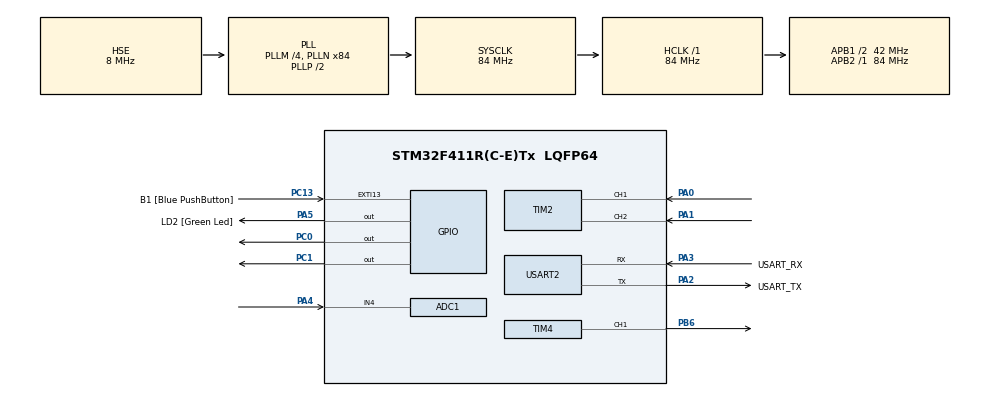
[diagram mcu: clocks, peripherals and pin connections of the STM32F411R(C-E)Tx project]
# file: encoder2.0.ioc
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ADC1.Channel-3\#ChannelRegularConversion=ADC_CHANNEL_4
ADC1.NbrOfConversionFlag=1
ADC1.Rank-3\#ChannelRegularConversion=1
ADC1.SamplingTime-3\#ChannelRegularConversion=ADC_SAMPLETIME_144CYCLES
ADC1.master=1
Mcu.Family=STM32F4
Mcu.Name=STM32F411R(C-E)Tx
Mcu.Package=LQFP64
NVIC.PriorityGroup=NVIC_PRIORITYGROUP_0
NVIC.TIM3_IRQn=true\:0\:0\:false\:true\:true\:1\:true\:true\:true
PA0-WKUP.Signal=S_TIM2_CH1_ETR
PA1.Signal=S_TIM2_CH2
PA13.GPIO_Label=TMS
PA13.Mode=Serial_Wire
PA13.Signal=SYS_JTMS-SWDIO
PA14.GPIO_Label=TCK
PA14.Mode=Serial_Wire
PA14.Signal=SYS_JTCK-SWCLK
PA2.GPIO_Label=USART_TX
PA2.Mode=Asynchronous
PA2.Signal=USART2_TX
PA3.GPIO_Label=USART_RX
PA3.Mode=Asynchronous
PA3.Signal=USART2_RX
PA4.Signal=ADCx_IN4
PA5.GPIO_Label=LD2 [Green Led]
PA5.Signal=GPIO_Output
PB3.GPIO_Label=SWO
PB3.Signal=SYS_JTDO-SWO
PB6.Signal=S_TIM4_CH1
PC0.Signal=GPIO_Output
PC1.Signal=GPIO_Output
PC13-ANTI_TAMP.GPIO_Label=B1 [Blue PushButton]
PC13-ANTI_TAMP.GPIO_ModeDefaultEXTI=GPIO_MODE_IT_FALLING
PC13-ANTI_TAMP.Signal=GPXTI13
PC14-OSC32_IN.Mode=LSE-External-Oscillator
PC14-OSC32_IN.Signal=RCC_OSC32_IN
PC15-OSC32_OUT.Mode=LSE-External-Oscillator
PC15-OSC32_OUT.Signal=RCC_OSC32_OUT
PH0\ -\ OSC_IN.Mode=HSE-External-Oscillator
PH0\ -\ OSC_IN.Signal=RCC_OSC_IN
PH1\ -\ OSC_OUT.Mode=HSE-External-Oscillator
PH1\ -\ OSC_OUT.Signal=RCC_OSC_OUT
ProjectManager.HeapSize=0x200
ProjectManager.StackSize=0x400
ProjectManager.TargetToolchain=STM32CubeIDE
RCC.48MHZClocksFreq_Value=42000000
RCC.AHBFreq_Value=84000000
RCC.APB1CLKDivider=RCC_HCLK_DIV2
RCC.APB1Freq_Value=42000000
RCC.APB1TimFreq_Value=84000000
RCC.APB2Freq_Value=84000000
RCC.APB2TimFreq_Value=84000000
RCC.CortexFreq_Value=84000000
RCC.FLatency-AdvancedSettings=FLASH_LATENCY_2
RCC.HCLKFreq_Value=84000000
RCC.HSE_VALUE=8000000
RCC.HSI_VALUE=16000000
RCC.PLLM=4
RCC.PLLN=84
RCC.PLLSourceVirtual=RCC_PLLSOURCE_HSE
RCC.SYSCLKFreq_VALUE=84000000
RCC.SYSCLKSource=RCC_SYSCLKSOURCE_PLLCLK
RCC.VCOOutputFreq_Value=168000000
SH.ADCx_IN4.0=ADC1_IN4,IN4
SH.S_TIM2_CH1_ETR.0=TIM2_CH1,Encoder_Interface
SH.S_TIM2_CH2.0=TIM2_CH2,Encoder_Interface
SH.S_TIM4_CH1.0=TIM4_CH1,PWM Generation1 CH1
TIM2.EncoderMode=TIM_ENCODERMODE_TI12
TIM3.AutoReloadPreload=TIM_AUTORELOAD_PRELOAD_ENABLE
TIM3.Period=150-1
TIM3.Prescaler=8400-1
TIM4.AutoReloadPreload=TIM_AUTORELOAD_PRELOAD_ENABLE
TIM4.Channel-PWM\ Generation1\ CH1=TIM_CHANNEL_1
TIM4.Period=1000-1
TIM4.Prescaler=5.6-1
USART2.VirtualMode=VM_ASYNC
VP_TIM3_VS_ClockSourceINT.Mode=Internal
VP_TIM4_VS_ClockSourceINT.Mode=Internal
board=NUCLEO-F411RE

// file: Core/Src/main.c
/* USER CODE BEGIN Header */
/**
  ******************************************************************************
  * @file           : main.c
  * @brief          : Main program body
  ******************************************************************************
  * @attention
  *
  * Copyright (c) 2026 STMicroelectronics.
  * All rights reserved.
  *
  * This software is licensed under terms that can be found in the LICENSE file
  * in the root directory of this software component.
  * If no LICENSE file comes with this software, it is provided AS-IS.
  *
  ******************************************************************************
  */
/* USER CODE END Header */
#include "main.h"
#include "adc.h"
#include "tim.h"
#include "usart.h"
#include "gpio.h"

/* USER CODE BEGIN Includes */
#include <stdio.h>
/* USER CODE END Includes */

/* USER CODE BEGIN PV */
/* Variables para el control del timer de muestreo

el tipo volatile se utiliza para indicar al compilador que el valor de la variable
puede cambiar en cualquier momento sin que el código que la utiliza lo espere,
lo que es común en aplicaciones de hardware donde las variables pueden ser modificadas
por interrupciones o por otros procesos concurrentes.
*/
#define dt 0.015 //15ms de muestreo
volatile int flag = 0;
volatile float t = 0;
volatile float pos=0.0;
volatile float vel=0.0;
int cont1;
/* USER CODE END PV */

void SystemClock_Config(void);
static void MX_NVIC_Init(void);
/* USER CODE BEGIN PFP */
int uart2_write(int ch);
int __io_putchar(int ch);
uint32_t Leer_Encoder(void);
/* USER CODE END PFP */

int main(void)
{

  /* MCU Configuration--------------------------------------------------------*/

  /* Reset of all peripherals, Initializes the Flash interface and the Systick. */
  HAL_Init();

  /* Configure the system clock */
  SystemClock_Config();

  /* Initialize all configured peripherals */
  MX_GPIO_Init();
  MX_TIM4_Init();
  MX_TIM2_Init();
  MX_USART2_UART_Init();
  MX_ADC1_Init();
  MX_TIM3_Init();

  /* Initialize interrupts */
  MX_NVIC_Init();
  /* USER CODE BEGIN 2 */
  HAL_TIM_PWM_Start(&htim4, TIM_CHANNEL_1);
  HAL_TIM_Base_Start_IT(&htim3);
  HAL_TIM_Encoder_Start(&htim2, TIM_CHANNEL_ALL); //inicializacion del encoder mode en TIMER

  printf("tiempo,posicion,velocidad\n\r");
  /* USER CODE END 2 */

  /* Infinite loop */
  /* USER CODE BEGIN WHILE */

  /**
   * Este codigo implenta el modo 4x para lectura de encoder por hardware
   * tiene un timer configurado en modo de encoder para hacer la lectura por hardware
   */

  /**
   * Este codigo tiene configurado tambien un PWM y un adc, sin embargo, no se utilizan en este ejemplo,
   * pero pueden ser utilizados para controlar un motor y leer su velocidad respectivamente
   */

  while (1)
  {
    /* USER CODE END WHILE */

	 // Imprimir cada 15ms
	 if(flag == 1){
		 int cont = Leer_Encoder();
		 t += dt;//sampling timer
		 pos = (((float)cont)/(4.0*495.0))*360.0; //4(modo 4x) 495(PPR depende del motor)
		 vel=(((float)cont-(float)cont1)*60.0)/(4.0*495.0*0.015);
		 printf("%.2f, %.2f, %.2f\n\r", t, vel, pos);
		 cont1=cont;
		 flag = 0;
	 }
  }
}

void SystemClock_Config(void)
{
  RCC_OscInitTypeDef RCC_OscInitStruct = {0};
  RCC_ClkInitTypeDef RCC_ClkInitStruct = {0};

  /** Configure the main internal regulator output voltage
  */
  __HAL_RCC_PWR_CLK_ENABLE();
  __HAL_PWR_VOLTAGESCALING_CONFIG(PWR_REGULATOR_VOLTAGE_SCALE1);

  /** Initializes the RCC Oscillators according to the specified parameters
  * in the RCC_OscInitTypeDef structure.
  */
  RCC_OscInitStruct.OscillatorType = RCC_OSCILLATORTYPE_HSE;
  RCC_OscInitStruct.HSEState = RCC_HSE_ON;
  RCC_OscInitStruct.PLL.PLLState = RCC_PLL_ON;
  RCC_OscInitStruct.PLL.PLLSource = RCC_PLLSOURCE_HSE;
  RCC_OscInitStruct.PLL.PLLM = 4;
  RCC_OscInitStruct.PLL.PLLN = 84;
  RCC_OscInitStruct.PLL.PLLP = RCC_PLLP_DIV2;
  RCC_OscInitStruct.PLL.PLLQ = 4;
  if (HAL_RCC_OscConfig(&RCC_OscInitStruct) != HAL_OK)
  {
    Error_Handler();
  }

  /** Initializes the CPU, AHB and APB buses clocks
  */
  RCC_ClkInitStruct.ClockType = RCC_CLOCKTYPE_HCLK|RCC_CLOCKTYPE_SYSCLK
                              |RCC_CLOCKTYPE_PCLK1|RCC_CLOCKTYPE_PCLK2;
  RCC_ClkInitStruct.SYSCLKSource = RCC_SYSCLKSOURCE_PLLCLK;
  RCC_ClkInitStruct.AHBCLKDivider = RCC_SYSCLK_DIV1;
  RCC_ClkInitStruct.APB1CLKDivider = RCC_HCLK_DIV2;
  RCC_ClkInitStruct.APB2CLKDivider = RCC_HCLK_DIV1;

  if (HAL_RCC_ClockConfig(&RCC_ClkInitStruct, FLASH_LATENCY_2) != HAL_OK)
  {
    Error_Handler();
  }
}

/**
  * @brief NVIC Configuration.
  * @retval None
  */
static void MX_NVIC_Init(void)
{
  /* TIM3_IRQn interrupt configuration */
  HAL_NVIC_SetPriority(TIM3_IRQn, 0, 0);
  HAL_NVIC_EnableIRQ(TIM3_IRQn);
}

/* USER CODE BEGIN 4 */
int uart2_write(int ch){
	while(!(USART2 -> SR & USART_SR_TXE)){}

	USART2->DR = (ch & 0xFF);
	return ch;
}

int __io_putchar(int ch){
	uart2_write(ch);
	return ch;
}

uint32_t Leer_Encoder(void){
	return __HAL_TIM_GET_COUNTER(&htim2);
}

void HAL_TIM_PeriodElapsedCallback(TIM_HandleTypeDef *htim){
    if(htim->Instance == TIM3){
        flag = 1;
    }
}
/* USER CODE END 4 */

void Error_Handler(void)
{
  __disable_irq();
  while (1)
  {
  }
}
